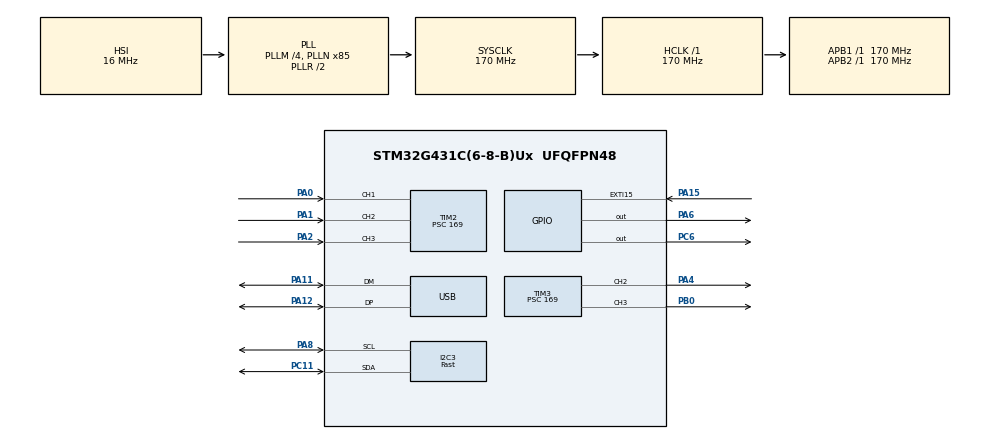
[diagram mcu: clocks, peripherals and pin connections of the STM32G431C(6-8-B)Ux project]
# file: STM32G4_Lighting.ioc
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I2C3.I2C_Speed_Mode=I2C_Fast
I2C3.Timing=0x40621236
Mcu.Family=STM32G4
Mcu.Name=STM32G431C(6-8-B)Ux
Mcu.Package=UFQFPN48
NVIC.EXTI15_10_IRQn=true\:0\:0\:false\:false\:true\:true\:true\:true
NVIC.I2C3_EV_IRQn=true\:0\:0\:false\:false\:true\:true\:true\:true
NVIC.PriorityGroup=NVIC_PRIORITYGROUP_4
NVIC.TIM2_IRQn=true\:0\:0\:false\:false\:true\:true\:true\:true
NVIC.TIM6_DAC_IRQn=true\:0\:0\:false\:false\:true\:true\:true\:true
NVIC.USB_LP_IRQn=true\:0\:0\:false\:false\:true\:false\:true\:true
PA0.Signal=S_TIM2_CH1
PA1.Signal=S_TIM2_CH2
PA11.Mode=Device
PA11.Signal=USB_DM
PA12.Mode=Device
PA12.Signal=USB_DP
PA15.GPIO_PuPd=GPIO_PULLDOWN
PA15.Signal=GPXTI15
PA2.Signal=S_TIM2_CH3
PA4.Signal=S_TIM3_CH2
PA6.Signal=GPIO_Output
PA8.Mode=I2C
PA8.Signal=I2C3_SCL
PB0.Signal=S_TIM3_CH3
PC11.Mode=I2C
PC11.Signal=I2C3_SDA
PC6.Signal=GPIO_Output
ProjectManager.HeapSize=0x200
ProjectManager.StackSize=0x400
ProjectManager.TargetToolchain=CMake
RCC.ADC12Freq_Value=170000000
RCC.AHBFreq_Value=170000000
RCC.APB1Freq_Value=170000000
RCC.APB1TimFreq_Value=170000000
RCC.APB2Freq_Value=170000000
RCC.APB2TimFreq_Value=170000000
RCC.CK48CLockSelection=RCC_USBCLKSOURCE_HSI48
RCC.CortexFreq_Value=170000000
RCC.EXTERNAL_CLOCK_VALUE=12288000
RCC.HCLKFreq_Value=170000000
RCC.HSE_VALUE=8000000
RCC.HSI48_VALUE=48000000
RCC.HSI_VALUE=16000000
RCC.LSE_VALUE=32768
RCC.PLLM=RCC_PLLM_DIV4
RCC.PLLN=85
RCC.PLLQ=RCC_PLLQ_DIV4
RCC.SYSCLKFreq_VALUE=170000000
RCC.SYSCLKSource=RCC_SYSCLKSOURCE_PLLCLK
RCC.USBFreq_Value=48000000
RCC.VCOOutputFreq_Value=340000000
SH.S_TIM2_CH1.0=TIM2_CH1,Input_Capture1_from_TI1
SH.S_TIM2_CH2.0=TIM2_CH2,Input_Capture2_from_TI2
SH.S_TIM2_CH3.0=TIM2_CH3,Input_Capture3_from_TI3
SH.S_TIM3_CH2.0=TIM3_CH2,PWM Generation2 CH2
SH.S_TIM3_CH3.0=TIM3_CH3,PWM Generation3 CH3
TIM2.Channel-Input_Capture1_from_TI1=TIM_CHANNEL_1
TIM2.Channel-Input_Capture2_from_TI2=TIM_CHANNEL_2
TIM2.Channel-Input_Capture3_from_TI3=TIM_CHANNEL_3
TIM2.Prescaler=169
TIM3.AutoReloadPreload=TIM_AUTORELOAD_PRELOAD_DISABLE
TIM3.Channel-PWM\ Generation2\ CH2=TIM_CHANNEL_2
TIM3.Channel-PWM\ Generation3\ CH3=TIM_CHANNEL_3
TIM3.PeriodNoDither=19999
TIM3.Prescaler=169
TIM6.AutoReloadPreload=TIM_AUTORELOAD_PRELOAD_ENABLE
TIM6.PeriodNoDither=4999
TIM6.Prescaler=169
USB_DEVICE.CLASS_NAME_FS=CDC
USB_DEVICE.VirtualMode=Cdc
USB_DEVICE.VirtualModeFS=Cdc_FS
VP_SYS_VS_DBSignals.Mode=DisableDeadBatterySignals
VP_TIM6_VS_ClockSourceINT.Mode=Enable_Timer
VP_USB_DEVICE_VS_USB_DEVICE_CDC_FS.Mode=CDC_FS
board=custom

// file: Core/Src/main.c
/* USER CODE BEGIN Header */
/**
  ******************************************************************************
  * @file           : main.c
  * @brief          : Main program body
  ******************************************************************************
  * @attention
  *
  * Copyright (c) 2026 STMicroelectronics.
  * All rights reserved.
  *
  * This software is licensed under terms that can be found in the LICENSE file
  * in the root directory of this software component.
  * If no LICENSE file comes with this software, it is provided AS-IS.
  *
  ******************************************************************************
  */
/* USER CODE END Header */
#include "main.h"
#include "i2c.h"
#include "stm32g4xx_hal.h"
#include "tim.h"
#include "usb_device.h"
#include "gpio.h"

/* USER CODE BEGIN Includes */
#include <stdio.h>
#include "demo_performance.h"
#include "rc_input.h"
#include "servo_control.h"
#include "lighting_control.h"
#include "mode_manager.h"
#include "imu_dual.h"         /* Driver dual MPU6050 (0x68 + 0x69) */
#include "fusion.h"           /* Complementary Filter               */
#include "gimbal_control.h"   /* Gimbal controller (rewritten)      */
/* USER CODE END Includes */

/* USER CODE BEGIN PV */

/* Dual IMU handle: Frame(0x68) + Camera(0x69) */
ImuDual_Handle_t     hImuDual;

/* Gimbal controller handle */
GimbalControl_Handle_t hGimbal;

/* Extern flag set bởi TIM6 ISR @ 500Hz (khai báo trong stm32g4xx_it.c) */
extern volatile uint8_t g_gimbal_tick_flag;

/* USER CODE END PV */

void SystemClock_Config(void);
/* USER CODE BEGIN PFP */
/* Demo_Performance() được khai báo trong demo_performance.h */
/* USER CODE END PFP */

/* USER CODE BEGIN 0 */

/**
 * @brief HAL callback cho TIM2 Input Capture – ủy quyền sang rc_input.c.
 */
void HAL_TIM_IC_CaptureCallback(TIM_HandleTypeDef *htim)
{
  RC_Input_CaptureCallback(htim);
}

/* USER CODE END 0 */

int main(void)
{

  /* MCU Configuration--------------------------------------------------------*/

  /* Reset of all peripherals, Initializes the Flash interface and the Systick. */
  HAL_Init();

  /* Configure the system clock */
  SystemClock_Config();

  /* Initialize all configured peripherals */
  MX_GPIO_Init();
  MX_USB_Device_Init();
  MX_TIM2_Init();
  MX_TIM3_Init();
  MX_TIM6_Init();
  MX_I2C3_Init();
  /* USER CODE BEGIN 2 */

  /* 1. Tắt đèn mặc định */
  HAL_GPIO_WritePin(LIGHT_GPIO_PORT, LIGHT_GPIO_PIN, GPIO_PIN_RESET);

  /* 2. Khởi tạo servo: bật PWM và về 90° (center = 1500µs) */
  Servo_Init();

  /* 3. Cấp xung 1 giây để servo ổn định */
  HAL_Delay(1000);

  /* 4. Khởi tạo RC Input */
  RC_Input_Init();

  /* 5. Khởi tạo bộ quản lý chế độ (mặc định: GIMBAL) */
  Mode_Init();

  /* 6. Khởi tạo Dual IMU (Frame @ 0x68 + Camera @ 0x69 trên I2C3) */
  if (ImuDual_Init(&hImuDual) != HAL_OK)
  {
    printf("[MAIN] Dual IMU init FAIL — check I2C3 wiring & AD0 pins.\r\n");
    /* Không gọi Error_Handler() để USB CDC vẫn hoạt động cho debug */
  }
  else
  {
    /* 7. Calibrate gyro bias (~1 giây, gimbal phải bất động) */
    ImuDual_Calibrate(&hImuDual);

    /* 8. Khởi tạo Gimbal Controller */
    Gimbal_Init(&hGimbal, &hImuDual);
  }

  /* 9. Khởi động Input Capture interrupt (RC) */
  HAL_TIM_IC_Start_IT(&htim2, TIM_CHANNEL_1);
  HAL_TIM_IC_Start_IT(&htim2, TIM_CHANNEL_2);
  HAL_TIM_IC_Start_IT(&htim2, TIM_CHANNEL_3);

  /* 10. Khởi động TIM6 @ 500Hz — kích hoạt g_gimbal_tick_flag trong ISR */
  HAL_TIM_Base_Start_IT(&htim6);

  /* USER CODE END 2 */

  /* Infinite loop */
  /* USER CODE BEGIN WHILE */
  while (1)
  {
    /* 1. Cập nhật timeout, reset pulse nếu mất tín hiệu */
    RC_Input_Update();

    /* 2. Đọc giá trị xung an toàn từ ISR */
    uint32_t ch1 = RC_Input_GetCh1();
    uint32_t ch2 = RC_Input_GetCh2();
    uint32_t ch3 = RC_Input_GetCh3();

    /* 3. Cập nhật bộ phát hiện cử chỉ toggle chế độ */
    Mode_Update(ch1);

    /* 4. Điều phối theo chế độ hiện tại */
    if (Mode_Get() == APP_MODE_DEMO)
    {
      /* CHẾ ĐỘ DEMO */
      Demo_Performance();
    }
    else if (Mode_Get() == APP_MODE_GIMBAL)
    {
      /* CHẾ ĐỘ GIMBAL — 500Hz flag-based control loop
       *
       * TIM6 ISR set g_gimbal_tick_flag = 1 mỗi 2ms (500Hz).
       * Main loop kiểm tra flag, xóa và gọi Gimbal_Tick().
       *
       * Tại sao không gọi trong ISR?
       *   Gimbal_Tick() thực hiện HAL_I2C_Mem_Read() (blocking ~400µs).
       *   Nếu I2C3 EV interrupt có priority thấp hơn TIM6, I2C sẽ timeout
       *   vì EV không thể preempt TIM6 ISR → deadlock.
       *   Giải pháp: ISR chỉ set flag (< 1µs), main loop làm việc nặng.
       */
      if (g_gimbal_tick_flag)
      {
        g_gimbal_tick_flag = 0;   /* Clear flag trước khi xử lý */
        Gimbal_Tick(&hGimbal, &hImuDual);
      }

      /* Telemetry & CLI (200ms interval, không blocking) */
      Gimbal_Update(&hGimbal);
    }
    else
    {
      /* CHẾ ĐỘ NORMAL: servo + đèn theo tín hiệu RC */
      Servo_Update(ch2, ch3);
      Lighting_Update(ch1);
    }

    /* 5. Mode status log mỗi 500ms */
    static uint32_t last_print_tick = 0;
    uint32_t now = HAL_GetTick();
    if (now - last_print_tick >= 500)
    {
      last_print_tick = now;
      AppMode mode = Mode_Get();
      if (mode == APP_MODE_NORMAL)
      {
        printf("[MODE] NORMAL - RC CH1:%lu CH2:%lu CH3:%lu\r\n", ch1, ch2, ch3);
      }
      else if (mode == APP_MODE_DEMO)
      {
        printf("[MODE] DEMO\r\n");
      }
      else if (mode == APP_MODE_GIMBAL)
      {
        /* In trạng thái giao tiếp và dữ liệu thô để kiểm tra MPU6050 */
        printf("[DEBUG IMU] Frame(0x68) Init:%d Read:%d | Cam(0x69) Init:%d Read:%d\r\n",
               hImuDual.frame.initialized, hImuDual.frame.read_ok,
               hImuDual.camera.initialized, hImuDual.camera.read_ok);

        printf("[DEBUG IMU] Frame Accel: X=%.2f Y=%.2f Z=%.2f | Cam Accel: X=%.2f Y=%.2f Z=%.2f\r\n",
               hImuDual.frame.scaled.accel_x, hImuDual.frame.scaled.accel_y, hImuDual.frame.scaled.accel_z,
               hImuDual.camera.scaled.accel_x, hImuDual.camera.scaled.accel_y, hImuDual.camera.scaled.accel_z);
      }
      /* GIMBAL mode: telemetry đã được in bởi Gimbal_Update() @ 200ms */
    }

    /* USER CODE END WHILE */

  }
}

void SystemClock_Config(void)
{
  RCC_OscInitTypeDef RCC_OscInitStruct = {0};
  RCC_ClkInitTypeDef RCC_ClkInitStruct = {0};

  /** Configure the main internal regulator output voltage
  */
  HAL_PWREx_ControlVoltageScaling(PWR_REGULATOR_VOLTAGE_SCALE1_BOOST);

  /** Initializes the RCC Oscillators according to the specified parameters
  * in the RCC_OscInitTypeDef structure.
  */
  RCC_OscInitStruct.OscillatorType = RCC_OSCILLATORTYPE_HSI|RCC_OSCILLATORTYPE_HSI48;
  RCC_OscInitStruct.HSIState = RCC_HSI_ON;
  RCC_OscInitStruct.HSICalibrationValue = RCC_HSICALIBRATION_DEFAULT;
  RCC_OscInitStruct.HSI48State = RCC_HSI48_ON;
  RCC_OscInitStruct.PLL.PLLState = RCC_PLL_ON;
  RCC_OscInitStruct.PLL.PLLSource = RCC_PLLSOURCE_HSI;
  RCC_OscInitStruct.PLL.PLLM = RCC_PLLM_DIV4;
  RCC_OscInitStruct.PLL.PLLN = 85;
  RCC_OscInitStruct.PLL.PLLP = RCC_PLLP_DIV2;
  RCC_OscInitStruct.PLL.PLLQ = RCC_PLLQ_DIV4;
  RCC_OscInitStruct.PLL.PLLR = RCC_PLLR_DIV2;
  if (HAL_RCC_OscConfig(&RCC_OscInitStruct) != HAL_OK)
  {
    Error_Handler();
  }

  /** Initializes the CPU, AHB and APB buses clocks
  */
  RCC_ClkInitStruct.ClockType = RCC_CLOCKTYPE_HCLK|RCC_CLOCKTYPE_SYSCLK
                              |RCC_CLOCKTYPE_PCLK1|RCC_CLOCKTYPE_PCLK2;
  RCC_ClkInitStruct.SYSCLKSource = RCC_SYSCLKSOURCE_PLLCLK;
  RCC_ClkInitStruct.AHBCLKDivider = RCC_SYSCLK_DIV1;
  RCC_ClkInitStruct.APB1CLKDivider = RCC_HCLK_DIV1;
  RCC_ClkInitStruct.APB2CLKDivider = RCC_HCLK_DIV1;

  if (HAL_RCC_ClockConfig(&RCC_ClkInitStruct, FLASH_LATENCY_4) != HAL_OK)
  {
    Error_Handler();
  }
}

void Error_Handler(void)
{
  __disable_irq();
  while (1)
  {
  }
}
